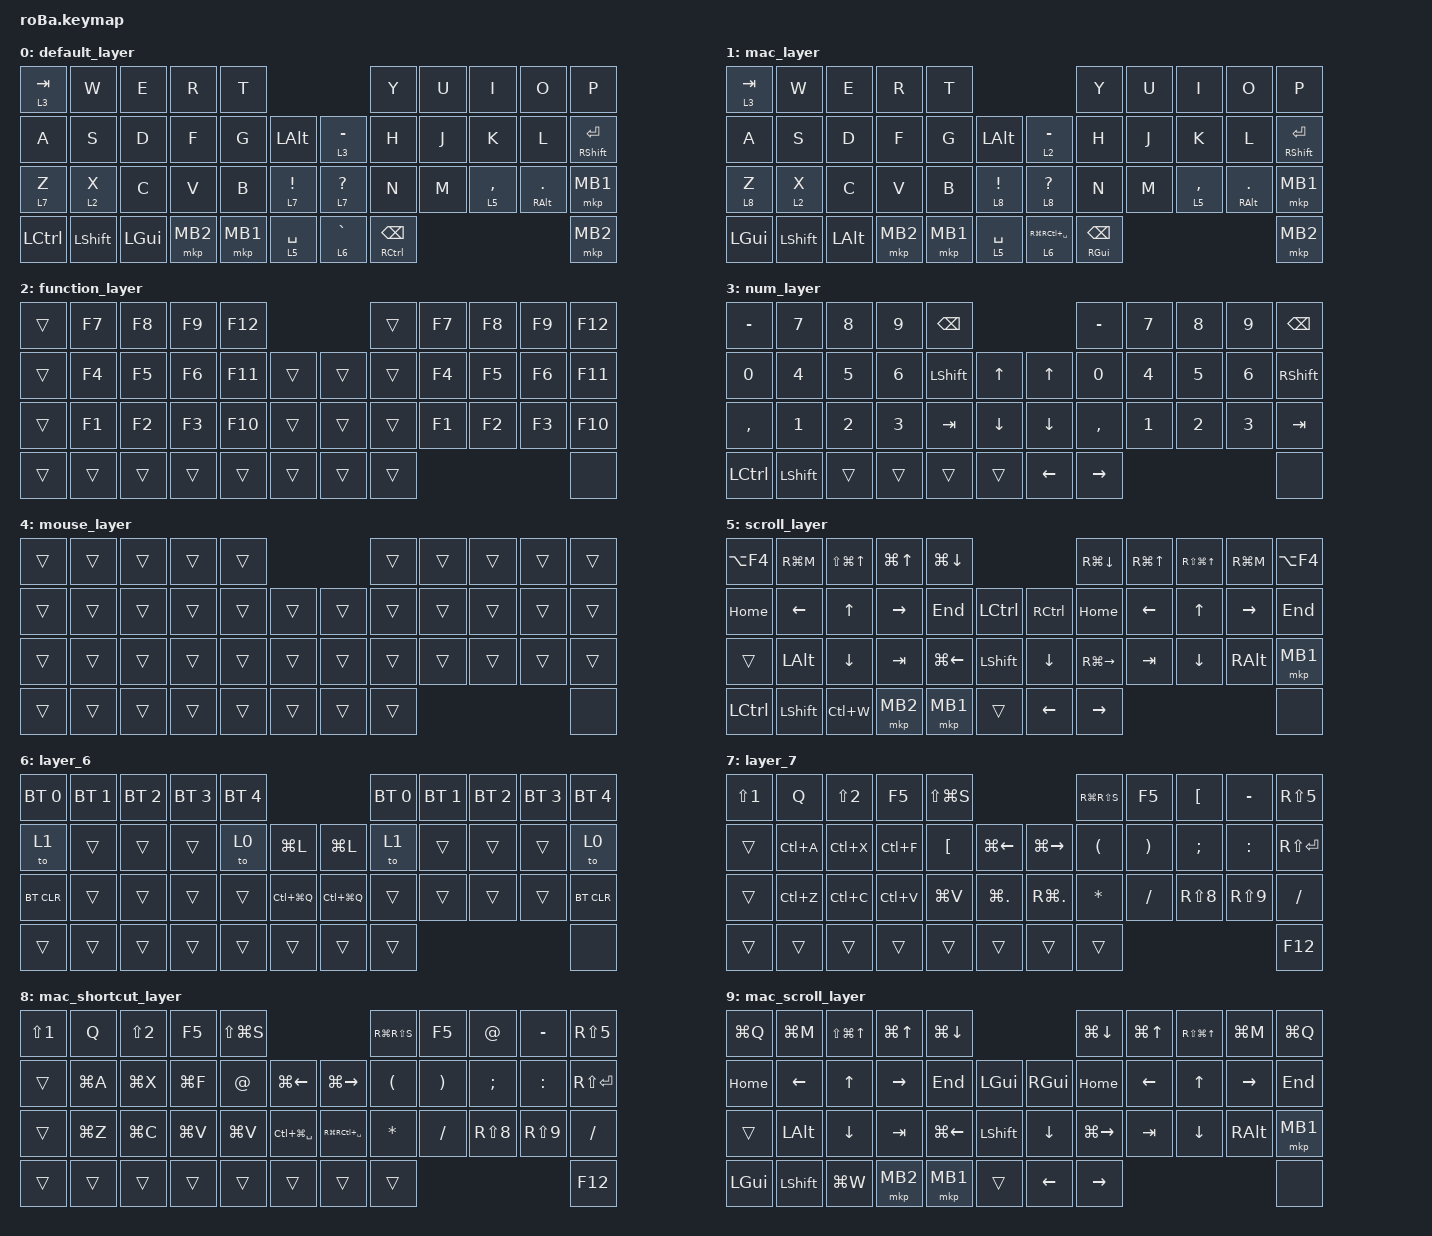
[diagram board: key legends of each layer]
#include <dt-bindings/zmk/mouse.h>
#include <behaviors.dtsi>
#include <dt-bindings/zmk/bt.h>
#include <dt-bindings/zmk/keys.h>
#include <dt-bindings/zmk/pointing.h>

&mt {
    flavor = "balanced";
    quick-tap-ms = <0>;
};

/ {
    conditional_layers {
        compatible = "zmk,conditional-layers";

        mac_scroll {
            if-layers = <1 5>;
            then-layer = <9>;
        };
    };

    combos {
        compatible = "zmk,combos";

        tab {
            bindings = <&kp TAB>;
            key-positions = <11 12>;
        };

        shift_tab {
            bindings = <&kp LS(TAB)>;
            key-positions = <12 13>;
        };

        muhennkann {
            bindings = <&to_layer_0 INT_MUHENKAN>;
            key-positions = <11 10>;
        };

        double_quotation {
            bindings = <&kp DQT>;
            key-positions = <20 21>;
        };

        eq {
            bindings = <&kp EQUAL>;
            key-positions = <24 25>;
        };
    };

    macros {
        to_layer_0: to_layer_0 {
            compatible = "zmk,behavior-macro-one-param";
            #binding-cells = <1>;
            bindings = <&to 0 &macro_param_1to1 &kp MACRO_PLACEHOLDER>;
        };
    };

    behaviors {
        lt_to_layer_0: lt_to_layer_0 {
            compatible = "zmk,behavior-hold-tap";
            bindings = <&mo>, <&to_layer_0>;

            #binding-cells = <2>;
            tapping-term-ms = <200>;
            flavor = "balanced";
        };
    };

    keymap {
        compatible = "zmk,keymap";

        default_layer {
            bindings = <
&lt_to_layer_0 3 TAB  &kp W               &kp E     &kp R     &kp T                                                         &kp Y           &kp U  &kp I                   &kp O         &kp P
&kp A                 &kp S               &kp D     &kp F     &kp G     &kp LALT                    &lt_to_layer_0 3 MINUS  &kp H           &kp J  &kp K                   &kp L         &mt RSHFT RET
&lt_to_layer_0 7 Z    &lt_to_layer_0 2 X  &kp C     &kp V     &kp B     &lt_to_layer_0 7 EXCL       &lt_to_layer_0 7 QMARK  &kp N           &kp M  &lt_to_layer_0 5 COMMA  &mt RALT DOT  &mkp MB1
&kp LCTRL             &kp LSHFT           &kp LGUI  &mkp MB2  &mkp MB1  &lt_to_layer_0 5 SPACE      &lt_to_layer_0 6 GRAVE  &mt RCTRL BSPC                                               &mkp MB2
            >;
        };

        mac_layer {
            bindings = <
&lt_to_layer_0 3 TAB  &kp W               &kp E     &kp R     &kp T                                                         &kp Y          &kp U  &kp I                   &kp O         &kp P
&kp A                 &kp S               &kp D     &kp F     &kp G     &kp LALT                    &lt_to_layer_0 2 MINUS  &kp H          &kp J  &kp K                   &kp L         &mt RSHFT RET
&lt_to_layer_0 8 Z    &lt_to_layer_0 2 X  &kp C     &kp V     &kp B     &lt_to_layer_0 8 EXCL       &lt_to_layer_0 8 QMARK  &kp N          &kp M  &lt_to_layer_0 5 COMMA  &mt RALT DOT  &mkp MB1
&kp LGUI              &kp LSHFT           &kp LALT  &mkp MB2  &mkp MB1  &lt_to_layer_0 5 SPACE      &lt 6 RG(RC(SPACE))     &mt RGUI BSPC                                               &mkp MB2
            >;
        };

        function_layer {
            bindings = <
&trans  &kp F7  &kp F8  &kp F9  &kp F12                      &trans  &kp F7  &kp F8  &kp F9  &kp F12
&trans  &kp F4  &kp F5  &kp F6  &kp F11  &trans      &trans  &trans  &kp F4  &kp F5  &kp F6  &kp F11
&trans  &kp F1  &kp F2  &kp F3  &kp F10  &trans      &trans  &trans  &kp F1  &kp F2  &kp F3  &kp F10
&trans  &trans  &trans  &trans  &trans   &trans      &trans  &trans                          &none
            >;
        };

        num_layer {
            bindings = <
&kp MINUS  &kp N7     &kp N8  &kp N9  &kp BSPC                           &kp MINUS  &kp N7  &kp N8  &kp N9  &kp BSPC
&kp N0     &kp N4     &kp N5  &kp N6  &kp LSHFT  &kp UP        &kp UP    &kp N0     &kp N4  &kp N5  &kp N6  &kp RSHFT
&kp COMMA  &kp N1     &kp N2  &kp N3  &kp TAB    &kp DOWN      &kp DOWN  &kp COMMA  &kp N1  &kp N2  &kp N3  &kp TAB
&kp LCTRL  &kp LSHFT  &trans  &trans  &trans     &trans        &kp LEFT  &kp RIGHT                          &none
            >;
        };

        mouse_layer {
            bindings = <
&trans  &trans  &trans  &trans  &trans                      &trans  &trans  &trans  &trans  &trans
&trans  &trans  &trans  &trans  &trans  &trans      &trans  &trans  &trans  &trans  &trans  &trans
&trans  &trans  &trans  &trans  &trans  &trans      &trans  &trans  &trans  &trans  &trans  &trans
&trans  &trans  &trans  &trans  &trans  &trans      &trans  &trans                          &none
            >;
        };

        scroll_layer {
            bindings = <
&kp LA(F4)  &kp RG(M)  &kp LS(LG(UP))  &kp LG(UP)  &kp LG(DOWN)                            &kp RG(DOWN)   &kp RG(UP)  &kp RS(LG(UP))  &kp RG(M)  &kp LA(F4)
&kp HOME    &kp LEFT   &kp UP          &kp RIGHT   &kp END       &kp LCTRL      &kp RCTRL  &kp HOME       &kp LEFT    &kp UP          &kp RIGHT  &kp END
&trans      &kp LALT   &kp DOWN        &kp TAB     &kp LG(LEFT)  &kp LSHFT      &kp DOWN   &kp RG(RIGHT)  &kp TAB     &kp DOWN        &kp RALT   &mkp MB1
&kp LCTRL   &kp LSHFT  &kp LC(W)       &mkp MB2    &mkp MB1      &trans         &kp LEFT   &kp RIGHT                                             &none
            >;
        };

        layer_6 {
            bindings = <
&bt BT_SEL 0  &bt BT_SEL 1  &bt BT_SEL 2  &bt BT_SEL 3  &bt BT_SEL 4                                    &bt BT_SEL 0  &bt BT_SEL 1  &bt BT_SEL 2  &bt BT_SEL 3  &bt BT_SEL 4
&to 1         &trans        &trans        &trans        &to 0         &kp LG(L)          &kp LG(L)      &to 1         &trans        &trans        &trans        &to 0
&bt BT_CLR    &trans        &trans        &trans        &trans        &kp LC(LG(Q))      &kp LC(LG(Q))  &trans        &trans        &trans        &trans        &bt BT_CLR
&trans        &trans        &trans        &trans        &trans        &trans             &trans         &trans                                                  &none
            >;
        };

        layer_7 {
            bindings = <
&kp LS(N1)  &kp Q      &kp LS(N2)  &kp F5     &kp LS(LG(S))                                      &kp RG(RS(S))  &kp F5     &kp LBKT    &kp MINUS   &kp RS(N5)
&trans      &kp LC(A)  &kp LC(X)   &kp LC(F)  &kp LBKT       &kp LG(LEFT)        &kp LG(RIGHT)   &kp LPAR       &kp RPAR   &kp SEMI    &kp COLON   &kp RS(RET)
&trans      &kp LC(Z)  &kp LC(C)   &kp LC(V)  &kp LG(V)      &kp LG(PERIOD)      &kp RG(PERIOD)  &kp STAR       &kp SLASH  &kp RS(N8)  &kp RS(N9)  &kp SLASH
&trans      &trans     &trans      &trans     &trans         &trans              &trans          &trans                                            &kp F12
            >;
        };

        mac_shortcut_layer {
            bindings = <
&kp LS(N1)  &kp Q      &kp LS(N2)  &kp F5     &kp LS(LG(S))                                            &kp RG(RS(S))  &kp F5     &kp AT      &kp MINUS   &kp RS(N5)
&trans      &kp LG(A)  &kp LG(X)   &kp LG(F)  &kp AT         &kp LG(LEFT)           &kp LG(RIGHT)      &kp LPAR       &kp RPAR   &kp SEMI    &kp COLON   &kp RS(RET)
&trans      &kp LG(Z)  &kp LG(C)   &kp LG(V)  &kp LG(V)      &kp LC(LG(SPACE))      &kp RG(RC(SPACE))  &kp STAR       &kp SLASH  &kp RS(N8)  &kp RS(N9)  &kp SLASH
&trans      &trans     &trans      &trans     &trans         &trans                 &trans             &trans                                            &kp F12
            >;
        };

        mac_scroll_layer {
            bindings = <
&kp LG(Q)  &kp LG(M)  &kp LS(LG(UP))  &kp LG(UP)  &kp LG(DOWN)                           &kp LG(DOWN)   &kp LG(UP)  &kp RS(LG(UP))  &kp LG(M)  &kp LG(Q)
&kp HOME   &kp LEFT   &kp UP          &kp RIGHT   &kp END       &kp LGUI       &kp RGUI  &kp HOME       &kp LEFT    &kp UP          &kp RIGHT  &kp END
&trans     &kp LALT   &kp DOWN        &kp TAB     &kp LG(LEFT)  &kp LSHFT      &kp DOWN  &kp LG(RIGHT)  &kp TAB     &kp DOWN        &kp RALT   &mkp MB1
&kp LGUI   &kp LSHFT  &kp LG(W)       &mkp MB2    &mkp MB1      &trans         &kp LEFT  &kp RIGHT                                             &none
            >;
        };
    };
};

&trackball {
    scroll-layers = <5 9>;
};
